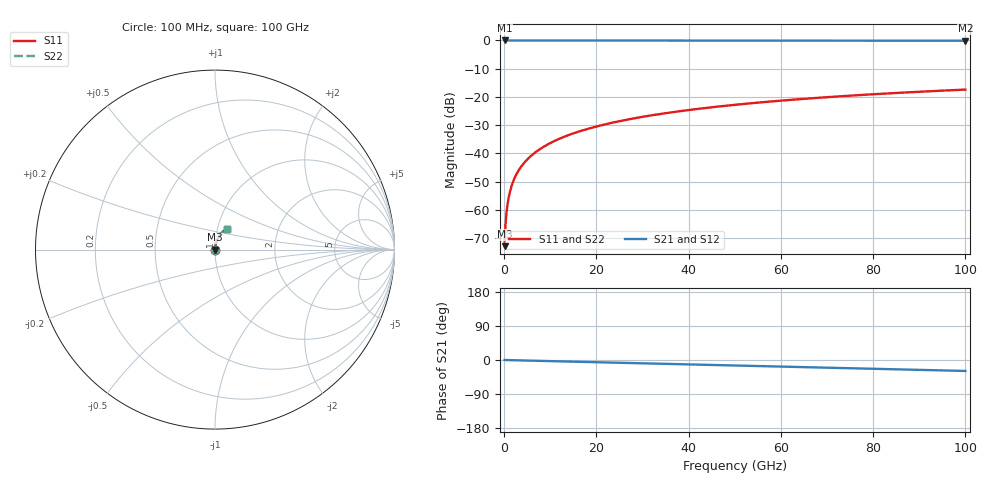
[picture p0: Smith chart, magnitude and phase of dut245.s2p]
! Touchstone file exported from HFSS 2026.1.0
!  File:  C:/ffzhzh/LocalFiles/Ansys_Project_Files/temp_train_TSV_245_1783508220_41296.aedt
!  Generated:  06:58:12 PM Jul  8, 2026
!  Design:  TSV
!  Project:  temp_train_TSV_245_1783508220_41296
! Variables:
!  h_bsmrdl = 2um
!  h_ox = 20um
!  h_rdl = 5um
!  h_sub = 50.86um
!  h_tmrdl = 5um
!  h_tsv = 50.86um
!  h_via = 3um
!  l_bsmrdl = 300um
!  l_sub = 415.12um
!  l_tmrdl = 200um
!  m_sub = 200um
!  pitch = 43.68um
!  r_tsv = 7.56um
!  s_tmrdl = 10um
!  w_bsmrdl = 18um
!  w_sub = 500um
!  w_tmrdl = 12um
!  x_tsv_center1 = 206um
!  x_tsv_center2 = 524um
!  x_tsv_center3 = 736um
!  x_tsv_center4 = 1054um
!  x_tsv_center5 = 1266um
!  x_tsv_center6 = 1584um
# GHz S MA R 50.000000
! Terminal data exported
! Port[1] = TSV1_1_T1
! Port[2] = TSV1_1_T2
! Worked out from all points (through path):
!   1000 points, 100 MHz to 100 GHz, reference 50 ohm
!   highest |S21| = 0.00 dB at 100 MHz (marker M1); lowest = -0.1 dB at 100 GHz (marker M2)
!   group delay of S21, straight-line fit = 803 fs
!   lowest |S11| = -72.9 dB at 100 MHz (marker M3), VSWR 1.00, Z = 50 + j0.0181 ohm
!   |S11| at or under -10 dB: start of sweep to end of sweep
!   |S22| runs from -72.9 to -17.4 dB; largest |S21 - S12| = 2.2e-15
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0.1  0.0002278 52.8  0.9999 -0.0  0.9999 -0.0  0.0002278 52.8
! Gamma 0 0 0 0
! Port Impedance 50 0 50 0
0.4  0.0007122 75.8  0.9998 -0.1  0.9998 -0.1  0.0007122 75.8
0.7  0.001195 80.1  0.9998 -0.2  0.9998 -0.2  0.001195 80.1
0.8  0.001356 80.8  0.9998 -0.2  0.9998 -0.2  0.001356 80.8
1.1  0.001837 82.3  0.9998 -0.3  0.9998 -0.3  0.001837 82.3
1.4  0.002314 83.0  0.9997 -0.4  0.9997 -0.4  0.002314 83.0
1.9  0.003099 83.7  0.9997 -0.6  0.9997 -0.6  0.003099 83.7
2.4  0.003872 84.0  0.9996 -0.7  0.9996 -0.7  0.003872 84.0
3  0.004788 84.2  0.9996 -0.9  0.9996 -0.9  0.004788 84.2
3.8  0.005996 84.4  0.9995 -1.1  0.9995 -1.1  0.005996 84.4
4.8  0.007498 84.6  0.9995 -1.4  0.9995 -1.4  0.007498 84.6
6  0.009294 84.7  0.9994 -1.8  0.9994 -1.8  0.009294 84.7
8.8  0.01347 84.4  0.9992 -2.6  0.9992 -2.6  0.01347 84.4
12.4  0.0188 83.8  0.999 -3.6  0.999 -3.6  0.0188 83.8
16.8  0.02527 82.8  0.9987 -4.9  0.9987 -4.9  0.02527 82.8
24.2  0.03604 81.1  0.9982 -7.1  0.9982 -7.1  0.03604 81.1
33.4  0.04926 78.7  0.9974 -9.7  0.9974 -9.7  0.04926 78.7
41.2  0.06029 76.6  0.9966 -12.0  0.9966 -12.0  0.06029 76.6
50.1  0.07262 74.1  0.9957 -14.6  0.9957 -14.6  0.07262 74.1
66.7  0.09474 69.4  0.9935 -19.4  0.9935 -19.4  0.09474 69.4
83.4  0.1156 64.7  0.9911 -24.2  0.9911 -24.2  0.1156 64.8
100  0.1349 60.2  0.9884 -28.9  0.9884 -28.9  0.1349 60.2
